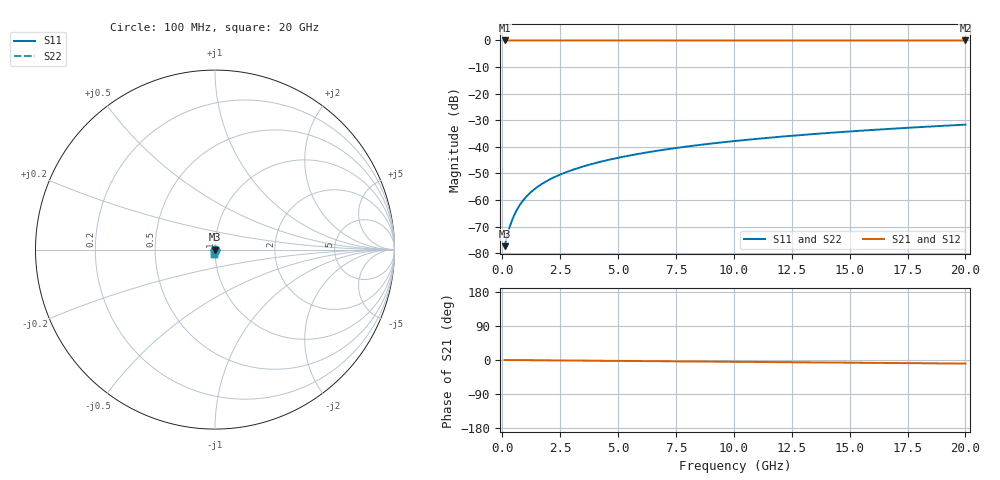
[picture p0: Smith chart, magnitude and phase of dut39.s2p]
! Touchstone file exported from HFSS 2026.1.0
!  File:  C:/ffzhzh/LocalFiles/Ansys_Project_Files/temp_train_TSV_39_1782958575_45568.aedt
!  Generated:  10:17:44 AM Jul  2, 2026
!  Design:  TSV
!  Project:  temp_train_TSV_39_1782958575_45568
! Variables:
!  h_bsmrdl = 2um
!  h_ox = 20um
!  h_rdl = 5um
!  h_sub = 96.99um
!  h_tmrdl = 5um
!  h_tsv = 96.99um
!  h_via = 3um
!  l_bsmrdl = 300um
!  l_sub = 424.68um
!  l_tmrdl = 200um
!  m_sub = 200um
!  pitch = 42.62um
!  r_tsv = 12.34um
!  s_tmrdl = 10um
!  w_bsmrdl = 18um
!  w_sub = 500um
!  w_tmrdl = 12um
!  x_tsv_center1 = 206um
!  x_tsv_center2 = 524um
!  x_tsv_center3 = 736um
!  x_tsv_center4 = 1054um
!  x_tsv_center5 = 1266um
!  x_tsv_center6 = 1584um
# GHz S MA R 50.000000
! Terminal data exported
! Port[1] = TSV1_1_T1
! Port[2] = TSV1_1_T2
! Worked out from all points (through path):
!   200 points, 100 MHz to 20 GHz, reference 50 ohm
!   highest |S21| = 0.00 dB at 100 MHz (marker M1); lowest = 0.0 dB at 20 GHz (marker M2)
!   group delay of S21, straight-line fit = 1.31 ps
!   lowest |S11| = -77.3 dB at 100 MHz (marker M3), VSWR 1.00, Z = 50 - j0.00795 ohm
!   |S11| at or under -10 dB: start of sweep to end of sweep
!   |S22| runs from -77.3 to -31.6 dB; largest |S21 - S12| = 3.4e-15
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0.1  0.0001362 -35.7  0.9999 -0.1  0.9999 -0.1  0.0001362 -35.7
! Gamma 0 0 0 0
! Port Impedance 50 0 50 0
0.2  0.0002065 -52.2  0.9999 -0.1  0.9999 -0.1  0.0002065 -52.2
0.3  0.000295 -59.5  0.9998 -0.1  0.9998 -0.1  0.000295 -59.5
0.4  0.0003951 -63.4  0.9998 -0.2  0.9998 -0.2  0.0003951 -63.4
0.5  0.0005039 -65.9  0.9998 -0.2  0.9998 -0.2  0.0005039 -65.9
0.6  0.000619 -67.9  0.9998 -0.3  0.9998 -0.3  0.000619 -67.9
0.8  0.000861 -71.0  0.9997 -0.4  0.9997 -0.4  0.000861 -71.0
1.1  0.001237 -74.5  0.9997 -0.5  0.9997 -0.5  0.001237 -74.5
1.3  0.001491 -76.2  0.9996 -0.6  0.9996 -0.6  0.001491 -76.2
1.5  0.001746 -77.6  0.9996 -0.7  0.9996 -0.7  0.001746 -77.6
1.8  0.002127 -79.3  0.9996 -0.9  0.9996 -0.9  0.002127 -79.3
2.1  0.002508 -80.6  0.9995 -1.0  0.9995 -1.0  0.002508 -80.6
2.7  0.003272 -82.5  0.9995 -1.3  0.9995 -1.3  0.003272 -82.5
3.5  0.004297 -84.1  0.9994 -1.7  0.9994 -1.7  0.004296 -84.1
4.2  0.005199 -85.2  0.9994 -2.0  0.9994 -2.0  0.005199 -85.2
5  0.006239 -86.2  0.9993 -2.4  0.9993 -2.4  0.006239 -86.2
6.8  0.0086 -87.9  0.9992 -3.2  0.9992 -3.2  0.0086 -87.9
8.3  0.01058 -89.2  0.9991 -3.9  0.9991 -3.9  0.01058 -89.2
10.1  0.01297 -90.5  0.9989 -4.8  0.9989 -4.8  0.01297 -90.5
13.4  0.01736 -92.7  0.9987 -6.3  0.9987 -6.3  0.01736 -92.7
16.7  0.02176 -94.6  0.9985 -7.9  0.9985 -7.9  0.02176 -94.6
20  0.02618 -96.4  0.9983 -9.4  0.9983 -9.4  0.02618 -96.4
